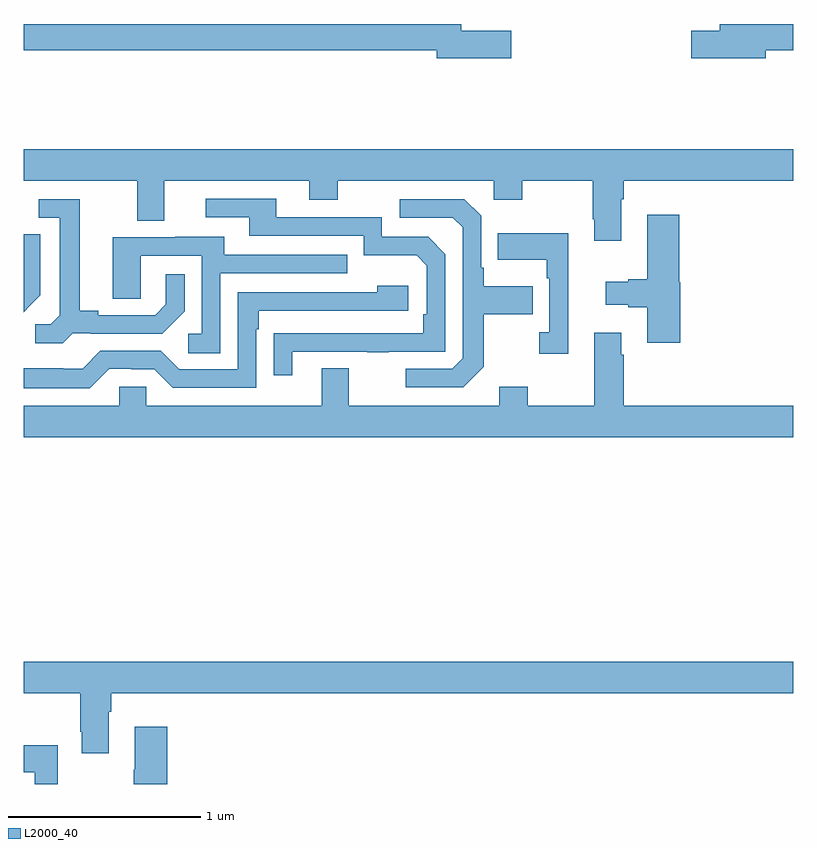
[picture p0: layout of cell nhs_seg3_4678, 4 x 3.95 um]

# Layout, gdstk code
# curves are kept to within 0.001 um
import gdstk
lib = gdstk.Library(unit=1e-6, precision=1e-09)
def P(c, l, *ps):  # polygons
    for p in ps: c.add(gdstk.Polygon(p, *l))
L2000_40 = (2000, 40)

nhs_seg3_4678 = lib.new_cell('nhs_seg3_4678')
P(nhs_seg3_4678, L2000_40, [(364.858,748.216),(365,748.216),(365,748.352),(364.619,748.352),(364.619,748.316),(364.47,748.316),(364.47,748.174),(364.858,748.174)],
  [(363.535,748.316),(363.274,748.316),(363.274,748.352),(361,748.352),(361,748.216),(363.146,748.216),(363.146,748.174),(363.535,748.174)],
  [(364.105,747.44),(364.118,747.44),(364.118,747.536),(365,747.536),(365,747.7),(361,747.7),(361,747.536),(361.589,747.536),(361.589,747.328),(361.729,747.328),(361.729,747.536),(362.483,747.536),(362.483,747.437),(362.631,747.437),(362.631,747.536),(363.444,747.536),(363.444,747.437),(363.591,747.437),(363.591,747.536),(363.958,747.536),(363.958,747.337),(363.965,747.337),(363.965,747.225),(364.105,747.225)],
  [(362.395,746.649),(362.785,746.649),(362.785,746.644),(362.897,746.644),(362.897,746.649),(363.192,746.649),(363.192,747.156),(363.102,747.246),(362.862,747.246),(362.862,747.348),(362.311,747.348),(362.311,747.444),(361.947,747.444),(361.947,747.348),(362.171,747.348),(362.171,747.252),(362.766,747.252),(362.766,747.149),(363.043,747.149),(363.096,747.096),(363.096,746.842),(363.076,746.842),(363.076,746.745),(362.299,746.744),(362.299,746.526),(362.395,746.526)],
  [(363.391,746.569),(363.391,746.842),(363.647,746.842),(363.647,746.989),(363.391,746.989),(363.391,747.085),(363.378,747.085),(363.378,747.354),(363.291,747.441),(362.955,747.441),(362.955,747.345),(363.231,747.345),(363.282,747.294),(363.282,746.613),(363.228,746.559),(362.985,746.559),(362.985,746.463),(363.285,746.463)],
  [(361.254,746.745),(361.348,746.745),(361.348,746.742),(361.72,746.742),(361.836,746.858),(361.836,747.052),(361.739,747.052),(361.739,746.895),(361.682,746.838),(361.387,746.838),(361.387,746.861),(361.291,746.861),(361.291,747.441),(361.077,747.441),(361.077,747.345),(361.187,747.345),(361.187,746.837),(361.14,746.79),(361.059,746.79),(361.059,746.693),(361.202,746.693)],
  [(364.414,747.009),(364.409,747.009),(364.409,747.361),(364.241,747.361),(364.241,747.026),(364.142,747.026),(364.142,747.013),(364.026,747.013),(364.026,746.891),(364.142,746.891),(364.142,746.879),(364.241,746.879),(364.241,746.694),(364.414,746.694)],
  [(363.83,747.265),(363.463,747.265),(363.463,747.125),(363.72,747.125),(363.72,747.029),(363.732,747.029),(363.732,746.75),(363.681,746.75),(363.681,746.637),(363.83,746.637)],
  [(361.014,746.868),(361.013,746.869),(361.086,746.942),(361.086,747.26),(361,747.26),(361,746.854)],
  [(362.022,747.057),(362.681,747.057),(362.681,747.153),(362.041,747.153),(362.041,747.247),(361.787,747.247),(361.787,747.243),(361.463,747.243),(361.463,746.923),(361.608,746.923),(361.608,747.147),(361.926,747.147),(361.926,746.742),(361.854,746.742),(361.854,746.641),(362.022,746.641)],
  [(361.443,746.559),(361.559,746.559),(361.559,746.556),(361.677,746.556),(361.773,746.46),(362.208,746.46),(362.208,746.765),(362.221,746.765),(362.221,746.862),(362.998,746.862),(362.998,746.992),(362.837,746.992),(362.837,746.958),(362.112,746.958),(362.112,746.556),(361.809,746.556),(361.713,746.652),(361.398,746.652),(361.305,746.559),(361.205,746.559),(361.205,746.563),(361,746.563),(361,746.459),(361.343,746.459)],
  [(365,746.368),(364.118,746.368),(364.118,746.633),(364.105,746.633),(364.105,746.746),(363.965,746.746),(363.965,746.368),(363.621,746.368),(363.621,746.467),(363.473,746.467),(363.473,746.368),(362.689,746.368),(362.689,746.563),(362.549,746.563),(362.549,746.368),(361.635,746.368),(361.635,746.466),(361.497,746.466),(361.497,746.368),(361,746.368),(361,746.204),(365,746.204)],
  [(361.441,744.776),(361.454,744.776),(361.454,744.872),(365,744.872),(365,745.036),(361,745.036),(361,744.872),(361.294,744.872),(361.294,744.673),(361.301,744.673),(361.301,744.561),(361.441,744.561)],
  [(361.745,744.697),(361.577,744.697),(361.577,744.473),(361.57,744.473),(361.57,744.4),(361.745,744.4)],
  [(361.177,744.601),(361,744.601),(361,744.461),(361.056,744.461),(361.056,744.4),(361.177,744.4)])

lib.write_gds('nhs_seg3_4678.gds')
